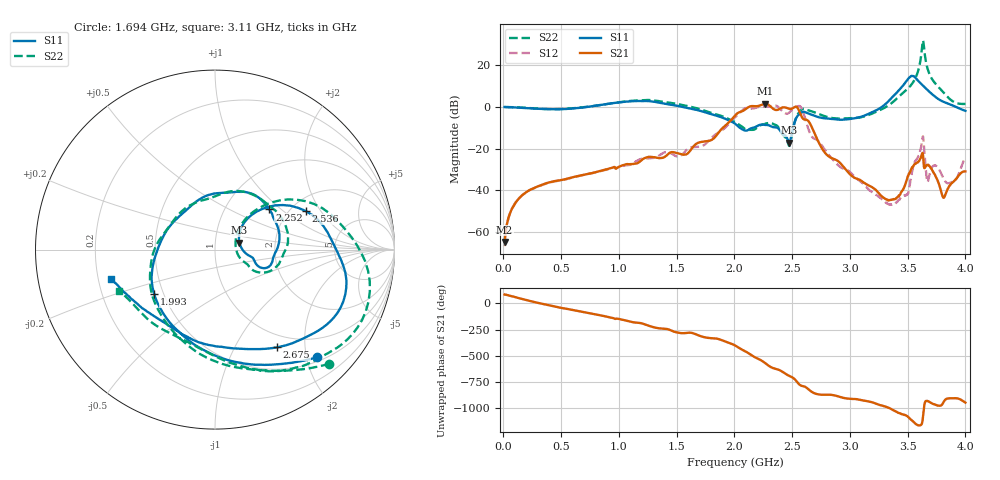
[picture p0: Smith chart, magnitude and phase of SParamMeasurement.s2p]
!  08/10/2026  19:30:57
! Ref Plane: 0.000 mm
# MHZ S MA R  50
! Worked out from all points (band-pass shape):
!   1001 points, 10 MHz to 4 GHz, reference 50 ohm
!   highest |S21| = 1.55 dB at 2.264 GHz (marker M1); lowest = -64.8 dB at 10 MHz (marker M2)
!   |S21| within 3 dB of the highest: 2.086 GHz to 2.557 GHz (471.6 MHz wide, 20.3 % of centre)
!   lowest |S11| = -17.0 dB at 2.476 GHz (marker M3), VSWR 1.33, Z = 65.4 + j5.19 ohm
!   |S11| at or under -10 dB: 2.048 GHz to 2.158 GHz (109.4 MHz wide, 5.2 % of centre); 2.374 GHz to 2.508 GHz (134.2 MHz wide, 5.5 % of centre)
!   |S22| runs from -18.7 to 31.9 dB; largest |S21 - S12| = 0.35
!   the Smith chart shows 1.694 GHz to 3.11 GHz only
!   S11 on the Smith chart (normalised r, x): 1.694 GHz: 0.58, -2.19; 1.993 GHz: 0.44, -0.27; 2.252 GHz: 1.60, +0.84; 2.536 GHz: 2.39, +1.48; 2.675 GHz: 0.80, -1.50; 3.11 GHz: 0.25, -0.13
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10  0.9994 -2.9  0.0005787 83.6  0.0004601 88.7  1.003 -3.3
676.33  0.9654 179.8  0.02303 -80.1  0.02292 -79.9  0.9788 -176.4
1342.66  1.281 22.3  0.0598 123.0  0.067 132.1  1.386 29.0
1693.78  0.8257 -46.6  0.1413 53.1  0.1117 49.5  0.9002 -44.9
1993.03  0.4194 -143.8  0.5699 -33.4  0.5307 -34.2  0.4538 -136.0
2005  0.3987 -151.7  0.6234 -40.4  0.5659 -40.7  0.4371 -142.3
2252.38  0.3768 36.5  1.176 162.9  1.028 163.0  0.3844 42.8
2264.35  0.3713 29.8  1.195 153.5  1.018 155.6  0.3934 36.2
2475.82  0.141 16.0  0.9053 29.2  0.7399 41.1  0.1162 8.4
2535.67  0.5487 23.2  1.021 -18.7  0.9853 -6.2  0.5705 28.3
2671.33  0.6512 -56.2  0.324 -123.5  0.1942 -116.2  0.7839 -58.1
2675.32  0.6449 -57.6  0.3061 -126.1  0.1885 -115.6  0.7785 -59.4
3110.23  0.6025 -164.0  0.01613 156.9  0.0148 152.3  0.5807 -156.9
3337.66  1.412 145.8  0.005815 85.0  0.004569 90.2  1.11 163.0
3473.32  3.641 107.8  0.01267 19.6  0.007493 20.8  2.346 144.0
3545.14  5.554 38.6  0.03727 -42.4  0.03494 21.4  3.848 144.4
3601  3.984 -9.1  0.05117 -81.6  0.07367 -34.9  9.464 155.5
3616.96  3.577 -16.4  0.06582 -73.8  0.1111 -30.3  17.18 168.2
3648.88  2.95 -25.5  0.03495 135.2  0.05962 91.7  17.9 -68.4
3660.85  2.74 -27.8  0.04017 151.5  0.02464 118.7  11.25 -58.7
3708.73  2.063 -36.2  0.03206 129.8  0.03521 -160.4  4.798 -52.3
4000  0.8104 -64.7  0.02857 135.6  0.06189 162.2  1.186 -70.1
